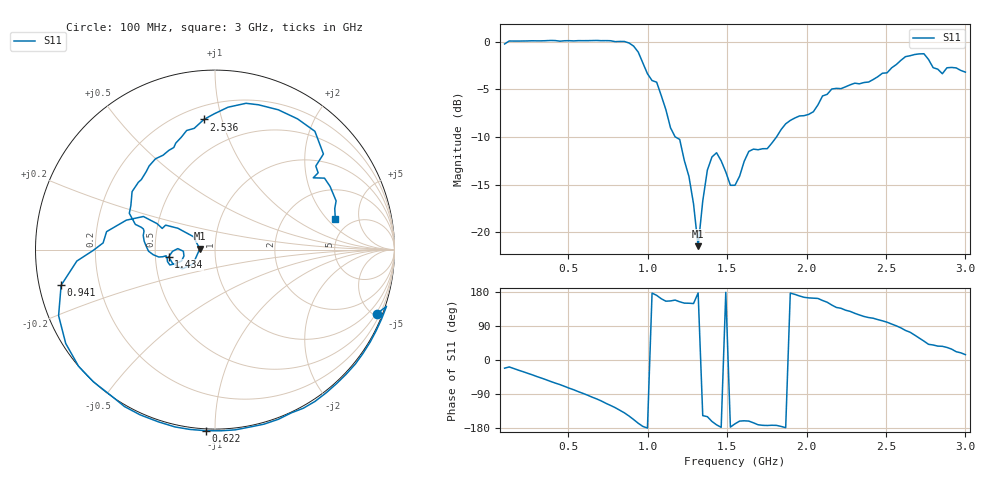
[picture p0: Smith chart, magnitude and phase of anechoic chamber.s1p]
# HZ S RI R 50
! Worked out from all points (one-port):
!   101 points, 100 MHz to 3 GHz, reference 50 ohm
!   lowest |S11| = -21.4 dB at 1.318 GHz (marker M1), VSWR 1.19, Z = 42.2 + j0.387 ohm
!   |S11| at or under -10 dB: 1.175 GHz to 1.811 GHz (636.7 MHz wide, 42.6 % of centre)
!   S11 on the Smith chart (normalised r, x): 100 MHz: 0.42, -5.22; 622 MHz: -0.01, -0.95; 941 MHz: 0.06, -0.11; 1.434 GHz: 0.59, -0.05; 2.536 GHz: 0.28, +0.88; 3 GHz: 3.80, +2.46
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1e8  0.9029 -0.3567
1.29e8  0.9555 -0.316
2.74e8  0.7826 -0.6365
4.77e8  0.3532 -0.9453
6.22e8  -0.0497 -1.009
7.09e8  -0.3153 -0.9597
8.25e8  -0.6773 -0.7368
8.83e8  -0.8317 -0.5229
9.41e8  -0.8574 -0.1989
9.7e8  -0.7697 -0.0637
1.086e9  -0.4938 0.1641
1.144e9  -0.3225 0.1445
1.202e9  -0.275 0.1363
1.26e9  -0.17 0.0989
1.318e9  -0.0846 0.00455
1.376e9  -0.1827 -0.1074
1.434e9  -0.2582 -0.0406
1.55e9  -0.1729 -0.0356
1.637e9  -0.2515 -0.0856
1.927e9  -0.3947 0.0475
2.101e9  -0.4775 0.2023
2.275e9  -0.367 0.466
2.536e9  -0.0616 0.7254
2.652e9  0.2424 0.8068
2.71e9  0.4603 0.7282
2.768e9  0.6041 0.5326
2.855e9  0.5475 0.3999
3e9  0.6702 0.1692
